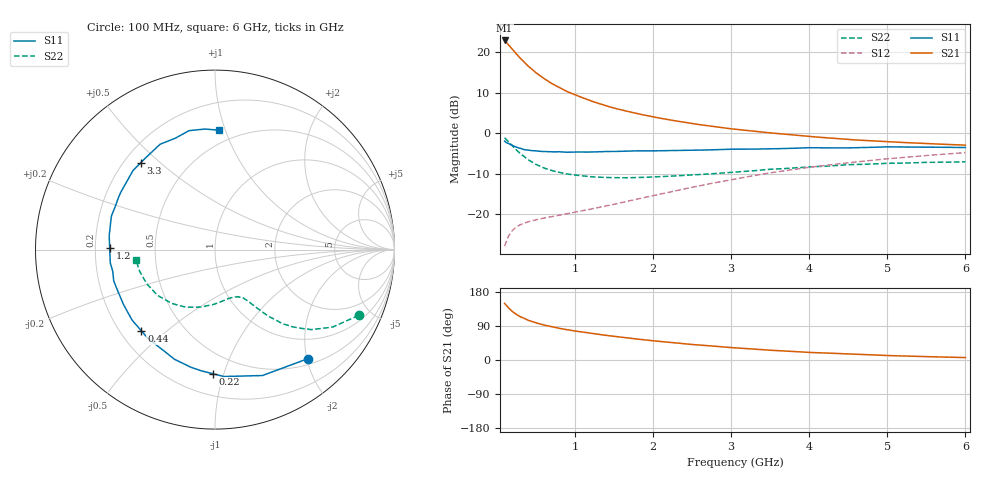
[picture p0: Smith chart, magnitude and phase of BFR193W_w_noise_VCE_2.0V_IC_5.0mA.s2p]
! Infineon Technologies  Discrete & RF Semiconductors
! BFR193W
! VCE =  2.0 V,  IC =  5.0 mA
! Common Emitter S-Parameters:  Nov 2015
# GHz  S  MA  R  50
!  f  S11  S21  S12  S22
! GHz  MAG  ANG  MAG  ANG  MAG  ANG  MAG  ANG
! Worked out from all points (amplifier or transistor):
!   192 points, 100 MHz to 6 GHz, reference 50 ohm
!   highest |S21| = 22.8 dB at 100 MHz (marker M1)
!   |S21| within 3 dB of that: start of sweep to 237 MHz
!   unconditionally stable (mu >= 1): 1.175 GHz to 2.59 GHz
!   at 440 MHz: K = 0.51, MSG = 18.8 dB, |S12| = -21.6 dB
!   at 1.7 GHz: K = 1.07, MAG = 9.3 dB, |S12| = -16.6 dB
!   at 6 GHz: K = 0.92, MSG = 0.9 dB, |S12| = -4.8 dB
!   lowest NFmin = 1.20 dB at 450 MHz
!   S11 on the Smith chart (normalised r, x): 100 MHz: 0.60, -2.03; 220 MHz: 0.35, -0.92; 440 MHz: 0.29, -0.41; 1.2 GHz: 0.26, +0.01; 3.3 GHz: 0.27, +0.43; 6 GHz: 0.40, +0.95
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0.1  0.7992 -49.4  13.81 149.3  0.0407 65.5  0.8803 -24.6
0.15  0.7497 -69.4  12.22 137.3  0.0541 57.1  0.7853 -33.3
0.2  0.7089 -85.9  10.77 127.7  0.0635 50.9  0.6983 -39.7
0.22  0.6911 -91.1  10.22 125.0  0.0661 49.1  0.6667 -41.4
0.26  0.6692 -101.5  9.231 119.2  0.071 46.1  0.6087 -44.9
0.3  0.6516 -110.2  8.366 114.3  0.0746 44.0  0.5618 -47.5
0.4  0.6194 -127.3  6.701 104.8  0.0811 40.9  0.4713 -51.5
0.44  0.6108 -132.2  6.233 102.4  0.083 40.6  0.448 -52.3
0.52  0.6027 -141.5  5.386 97.0  0.0868 40.2  0.4051 -54.1
0.6  0.5945 -149.1  4.73 92.4  0.0903 40.4  0.3731 -55.7
0.7  0.5895 -156.4  4.096 87.6  0.0937 41.4  0.3471 -56.9
0.9  0.5823 -168.1  3.251 79.8  0.1022 44.6  0.3143 -59.4
1.1  0.5856 -176.7  2.723 73.7  0.1112 48.0  0.2978 -62.7
1.2  0.586 179.2  2.495 70.5  0.1162 49.6  0.2908 -64.5
1.6  0.5984 167.3  1.925 59.9  0.14 55.5  0.2825 -72.2
2.08  0.6071 154.9  1.535 49.2  0.1769 60.0  0.2912 -82.8
2.5  0.6161 145.9  1.309 40.9  0.2152 61.7  0.3064 -92.1
3.1  0.6348 134.1  1.105 31.4  0.2781 60.6  0.3343 -106.6
3.3  0.6367 130.5  1.055 28.8  0.3013 59.5  0.3456 -111.8
4.1  0.6604 115.9  0.895 19.3  0.3901 53.4  0.3879 -131.4
5.1  0.6766 100.8  0.777 11.2  0.4928 43.8  0.4268 -155.8
6  0.6657 88.1  0.712 6.4  0.5759 34.1  0.444 -172.7
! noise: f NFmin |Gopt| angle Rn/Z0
0.45  1.2  0.26  102  0.14
0.9  1.25  0.38  145  0.12
1.8  2.05  0.56  -161  0.12
